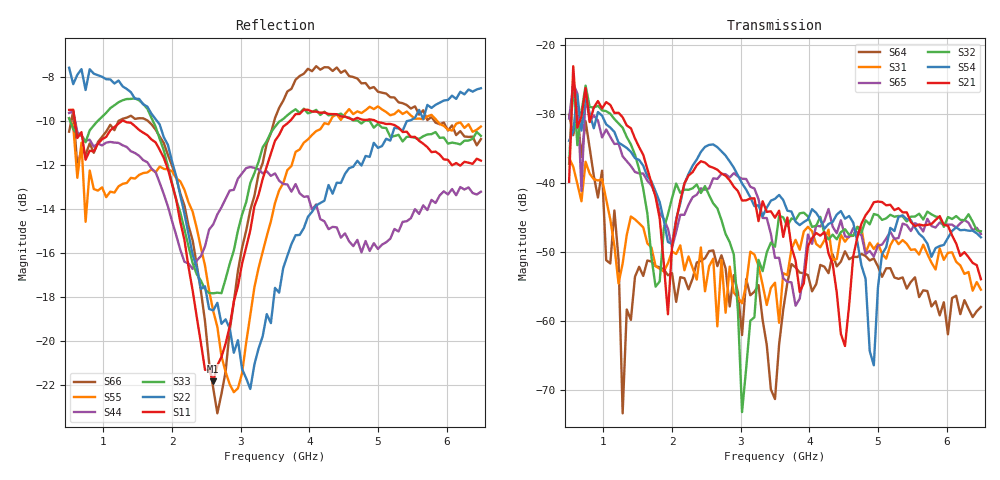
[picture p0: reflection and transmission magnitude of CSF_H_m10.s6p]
!Keysight Technologies,M9804A,MY58100912,A.14.10.03
!Date: Thursday, April 27, 2023 10:28:33
!Correction: S11(C  6-Port  )
!S12(C  6-Port  )
!S13(C  6-Port  )
!S14(C  6-Port  )
!S15(C  6-Port  )
!S16(C  6-Port  )
!S21(C  6-Port  )
!S22(C  6-Port  )
!S23(C  6-Port  )
!S24(C  6-Port  )
!S25(C  6-Port  )
!S26(C  6-Port  )
!S31(C  6-Port  )
!S32(C  6-Port  )
!S33(C  6-Port  )
!S34(C  6-Port  )
!S35(C  6-Port  )
!S36(C  6-Port  )
!S41(C  6-Port  )
!S42(C  6-Port  )
!S43(C  6-Port  )
!S44(C  6-Port  )
!S45(C  6-Port  )
!S46(C  6-Port  )
!S51(C  6-Port  )
!S52(C  6-Port  )
!S53(C  6-Port  )
!S54(C  6-Port  )
!S55(C  6-Port  )
!S56(C  6-Port  )
!S61(C  6-Port  )
!S62(C  6-Port  )
!S63(C  6-Port  )
!S64(C  6-Port  )
!S65(C  6-Port  )
!S66(C  6-Port  )
!S6P File: Measurement: :
# Hz S  RI  R 50
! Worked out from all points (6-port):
!   101 points, 500 MHz to 6.5 GHz, reference 50 ohm
!   strongest paths, dB at 500 MHz, 2 GHz, 3.5 GHz, 5 GHz, 6.5 GHz:
!     S21: -39.8, -49.2, -45.0, -42.7, -54.0
!     S54: -33.9, -48.8, -42.3, -55.2, -47.9
!     S32: -37.2, -42.2, -49.2, -44.7, -47.0
!     S65: -30.6, -49.3, -50.9, -49.1, -47.4
!     S31: -36.4, -49.9, -54.5, -48.8, -55.5
!     S64: -30.1, -53.1, -71.3, -52.1, -58.0
!   lowest |S11| = -21.8 dB at 2.6 GHz (marker M1), VSWR 1.18, Z = 42.7 + j1.89 ohm
!   |S11| at or under -10 dB: 583.4 MHz to 1.274 GHz (690.5 MHz wide, 74.4 % of centre); 1.291 GHz to 3.721 GHz (2.43 GHz wide, 97 % of centre); 4.96 GHz to end of sweep
